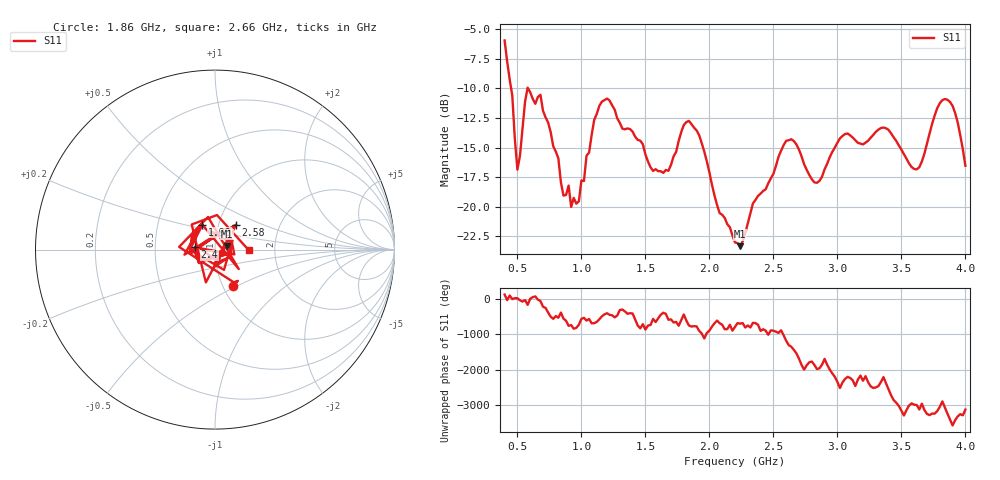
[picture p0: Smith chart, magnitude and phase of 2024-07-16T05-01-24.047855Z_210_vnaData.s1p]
!Created with skrf (http://scikit-rf.org).
# Hz S RI R 50.0
!freq ReS11 ImS11
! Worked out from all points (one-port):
!   181 points, 400 MHz to 4 GHz, reference 50 ohm
!   lowest |S11| = -23.3 dB at 2.24 GHz (marker M1), VSWR 1.15, Z = 56.9 + j2.28 ohm
!   |S11| at or under -10 dB: 451 MHz to 578.9 MHz (127.9 MHz wide, 24.8 % of centre); 583.4 MHz to end of sweep
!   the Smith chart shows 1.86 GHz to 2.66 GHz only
!   S11 on the Smith chart (normalised r, x): 1.86 GHz: 1.11, -0.47; 1.98 GHz: 0.84, +0.24; 2.4 GHz: 0.80, +0.02; 2.58 GHz: 1.21, +0.35; 2.66 GHz: 1.47, -0.01
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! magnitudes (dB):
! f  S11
! 400 MHz  -5.9
! 460 MHz  -10.6
! 500 MHz  -16.9
! 580 MHz  -9.9
! 680 MHz  -10.5
! 860 MHz  -19.1
! 980 MHz  -19.6
! 1.1 GHz  -12.7
! 1.16 GHz  -11.1
! 1.3 GHz  -12.9
! 1.56 GHz  -17.0
! 1.68 GHz  -17.0
! 1.76 GHz  -14.4
! 1.86 GHz  -13.0
! 1.98 GHz  -16.2
! 2.2 GHz  -23.0
! 2.24 GHz  -23.3
! 2.4 GHz  -18.9
! 2.58 GHz  -14.8
! 2.66 GHz  -14.4
! 2.84 GHz  -18.0
! 3.1 GHz  -14.0
! 3.38 GHz  -13.4
! 3.56 GHz  -16.4
! 3.64 GHz  -16.7
! 3.84 GHz  -10.9
! 3.92 GHz  -12.1
! 4 GHz  -16.5
